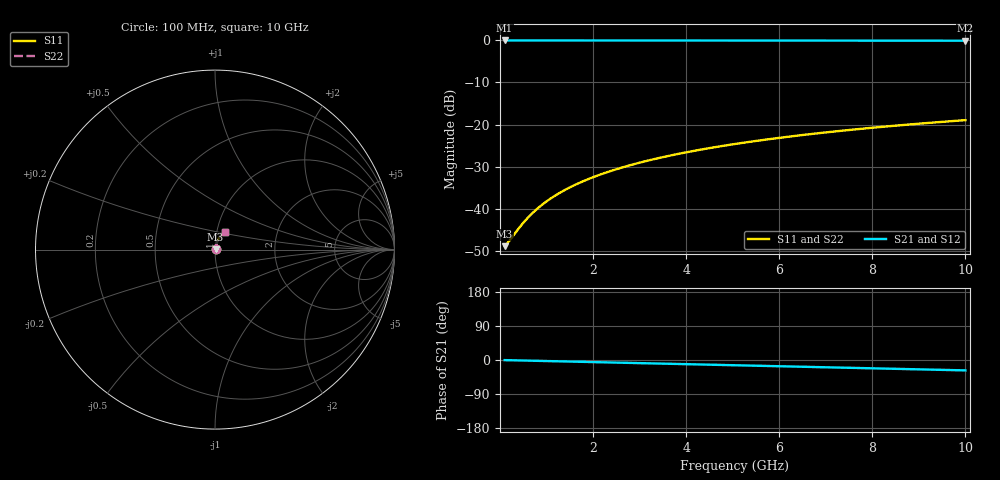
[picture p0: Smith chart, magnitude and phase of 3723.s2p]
# Hz S RI R 50.00
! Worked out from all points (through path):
!   100 points, 100 MHz to 10 GHz, reference 50 ohm
!   highest |S21| = -0.03 dB at 100 MHz (marker M1); lowest = -0.1 dB at 10 GHz (marker M2)
!   group delay of S21, straight-line fit = 7.62 ps
!   lowest |S11| = -48.8 dB at 100 MHz (marker M3), VSWR 1.01, Z = 50.3 + j0.117 ohm
!   |S11| at or under -10 dB: start of sweep to end of sweep
!   |S22| runs from -48.8 to -18.9 dB; largest |S21 - S12| = 0
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1e8  0.00343 0.00116  0.9966 -0.00477  0.9966 -0.00477  0.00343 0.00116
2e8  0.00347 0.00233  0.9965 -0.00954  0.9965 -0.00954  0.00347 0.00233
4e8  0.00356 0.00465  0.9963 -0.0191  0.9963 -0.0191  0.00356 0.00465
5e8  0.00362 0.00581  0.9962 -0.0238  0.9962 -0.0238  0.00362 0.00581
6e8  0.00369 0.00697  0.996 -0.0286  0.996 -0.0286  0.00369 0.00697
7e8  0.00378 0.00813  0.9959 -0.0334  0.9959 -0.0334  0.00378 0.00813
9e8  0.00397 0.0104  0.9955 -0.0429  0.9955 -0.0429  0.00397 0.0104
1.1e9  0.0042 0.0128  0.995 -0.0524  0.995 -0.0524  0.0042 0.0128
1.3e9  0.00448 0.0151  0.9944 -0.0619  0.9944 -0.0619  0.00448 0.0151
1.5e9  0.0048 0.0174  0.9937 -0.0715  0.9937 -0.0715  0.0048 0.0174
1.8e9  0.00536 0.0208  0.9925 -0.0857  0.9925 -0.0857  0.00536 0.0208
2.1e9  0.00602 0.0242  0.991 -0.1  0.991 -0.1  0.00602 0.0242
2.5e9  0.00705 0.0288  0.9888 -0.1189  0.9888 -0.1189  0.00705 0.0288
2.9e9  0.00825 0.0332  0.9862 -0.1378  0.9862 -0.1378  0.00825 0.0332
3.4e9  0.00999 0.0388  0.9823 -0.1613  0.9823 -0.1613  0.00999 0.0388
4.2e9  0.0133 0.0474  0.975 -0.1987  0.975 -0.1987  0.0133 0.0474
5.1e9  0.0179 0.0568  0.965 -0.2404  0.965 -0.2404  0.0179 0.0568
5.9e9  0.0225 0.0648  0.9545 -0.277  0.9545 -0.277  0.0225 0.0648
6.7e9  0.0278 0.0724  0.9425 -0.3131  0.9425 -0.3131  0.0278 0.0724
7.5e9  0.0337 0.0796  0.9291 -0.3487  0.9291 -0.3487  0.0337 0.0796
8.4e9  0.0409 0.0871  0.9124 -0.388  0.9124 -0.388  0.0409 0.0871
1e10  0.0552 0.0988  0.8785 -0.4557  0.8785 -0.4557  0.0552 0.0988
